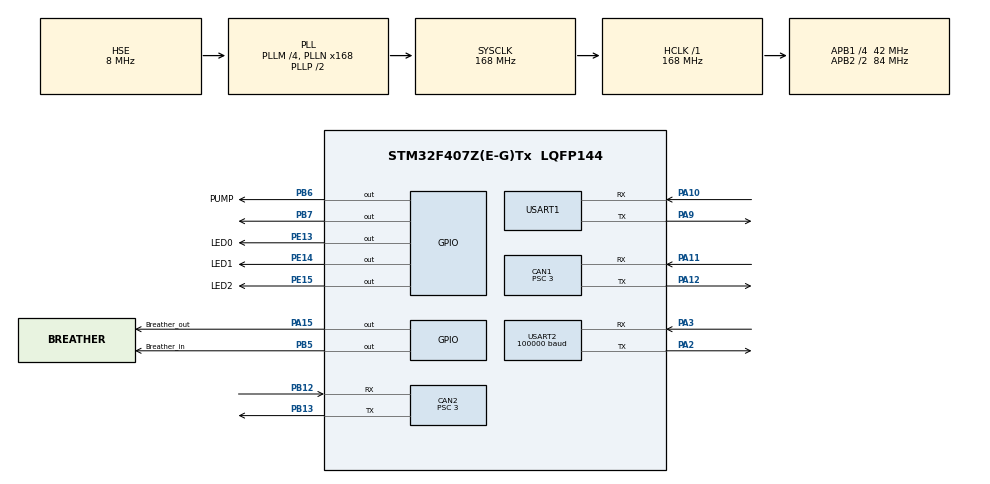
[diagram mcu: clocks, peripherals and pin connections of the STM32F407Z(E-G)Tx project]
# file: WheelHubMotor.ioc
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CAN1.ABOM=ENABLE
CAN1.AWUM=DISABLE
CAN1.BS1=CAN_BS1_9TQ
CAN1.BS2=CAN_BS2_4TQ
CAN1.CalculateTimeQuantum=71.42857142857143
CAN1.Prescaler=3
CAN2.ABOM=ENABLE
CAN2.BS1=CAN_BS1_9TQ
CAN2.BS2=CAN_BS2_4TQ
CAN2.CalculateTimeQuantum=71.42857142857143
CAN2.Prescaler=3
Dma.Request0=USART2_RX
Dma.USART2_RX.0.Direction=DMA_PERIPH_TO_MEMORY
Dma.USART2_RX.0.FIFOMode=DMA_FIFOMODE_DISABLE
Dma.USART2_RX.0.Instance=DMA1_Stream5
Dma.USART2_RX.0.MemDataAlignment=DMA_MDATAALIGN_BYTE
Dma.USART2_RX.0.MemInc=DMA_MINC_ENABLE
Dma.USART2_RX.0.Mode=DMA_NORMAL
Dma.USART2_RX.0.PeriphDataAlignment=DMA_PDATAALIGN_BYTE
Dma.USART2_RX.0.PeriphInc=DMA_PINC_DISABLE
Dma.USART2_RX.0.Priority=DMA_PRIORITY_LOW
Mcu.Family=STM32F4
Mcu.Name=STM32F407Z(E-G)Tx
Mcu.Package=LQFP144
NVIC.CAN1_RX0_IRQn=true\:0\:0\:false\:false\:true\:true\:true
NVIC.CAN1_TX_IRQn=true\:0\:0\:false\:false\:true\:true\:true
NVIC.CAN2_RX0_IRQn=true\:0\:0\:false\:false\:true\:true\:true
NVIC.CAN2_TX_IRQn=true\:0\:0\:false\:false\:true\:true\:true
NVIC.DMA1_Stream5_IRQn=true\:0\:0\:false\:false\:true\:false\:true
NVIC.PriorityGroup=NVIC_PRIORITYGROUP_4
NVIC.TIM3_IRQn=true\:1\:0\:true\:false\:true\:true\:true
NVIC.TIM4_IRQn=true\:2\:0\:true\:false\:true\:true\:true
NVIC.TIM7_IRQn=true\:0\:0\:false\:false\:true\:true\:true
NVIC.USART1_IRQn=true\:0\:0\:false\:false\:true\:true\:true
NVIC.USART2_IRQn=true\:0\:0\:false\:false\:true\:true\:true
PA10.Mode=Asynchronous
PA10.Signal=USART1_RX
PA11.Mode=Master
PA11.Signal=CAN1_RX
PA12.Mode=Master
PA12.Signal=CAN1_TX
PA13.Mode=Serial_Wire
PA13.Signal=SYS_JTMS-SWDIO
PA14.Mode=Serial_Wire
PA14.Signal=SYS_JTCK-SWCLK
PA15.GPIO_Label=Breather_out
PA15.GPIO_Speed=GPIO_SPEED_FREQ_HIGH
PA15.Signal=GPIO_Output
PA2.Mode=Asynchronous
PA2.Signal=USART2_TX
PA3.Mode=Asynchronous
PA3.Signal=USART2_RX
PA9.Mode=Asynchronous
PA9.Signal=USART1_TX
PB12.Mode=Slave
PB12.Signal=CAN2_RX
PB13.Mode=Slave
PB13.Signal=CAN2_TX
PB5.GPIO_Label=Breather_in
PB5.GPIO_Speed=GPIO_SPEED_FREQ_HIGH
PB5.Signal=GPIO_Output
PB6.GPIO_Label=PUMP
PB6.GPIO_Speed=GPIO_SPEED_FREQ_HIGH
PB6.Signal=GPIO_Output
PB7.Signal=GPIO_Output
PE13.GPIO_Label=LED0
PE13.GPIO_ModeDefaultOutputPP=GPIO_MODE_OUTPUT_PP
PE13.GPIO_PuPd=GPIO_PULLUP
PE13.GPIO_Speed=GPIO_SPEED_FREQ_LOW
PE13.PinState=GPIO_PIN_SET
PE13.Signal=GPIO_Output
PE14.GPIO_Label=LED1
PE14.GPIO_ModeDefaultOutputPP=GPIO_MODE_OUTPUT_PP
PE14.GPIO_PuPd=GPIO_PULLUP
PE14.GPIO_Speed=GPIO_SPEED_FREQ_LOW
PE14.PinState=GPIO_PIN_SET
PE14.Signal=GPIO_Output
PE15.GPIO_Label=LED2
PE15.GPIO_ModeDefaultOutputPP=GPIO_MODE_OUTPUT_PP
PE15.GPIO_PuPd=GPIO_PULLUP
PE15.GPIO_Speed=GPIO_SPEED_FREQ_LOW
PE15.PinState=GPIO_PIN_SET
PE15.Signal=GPIO_Output
PH0-OSC_IN.Mode=HSE-External-Oscillator
PH0-OSC_IN.Signal=RCC_OSC_IN
PH1-OSC_OUT.Mode=HSE-External-Oscillator
PH1-OSC_OUT.Signal=RCC_OSC_OUT
ProjectManager.HeapSize=0x200
ProjectManager.StackSize=0x400
ProjectManager.TargetToolchain=MDK-ARM V5
RCC.48MHZClocksFreq_Value=84000000
RCC.AHBFreq_Value=168000000
RCC.APB1CLKDivider=RCC_HCLK_DIV4
RCC.APB1Freq_Value=42000000
RCC.APB1TimFreq_Value=84000000
RCC.APB2CLKDivider=RCC_HCLK_DIV2
RCC.APB2Freq_Value=84000000
RCC.APB2TimFreq_Value=168000000
RCC.CortexFreq_Value=168000000
RCC.HCLKFreq_Value=168000000
RCC.HSE_VALUE=8000000
RCC.HSI_VALUE=16000000
RCC.LSE_VALUE=32768
RCC.PLLM=4
RCC.PLLN=168
RCC.PLLSourceVirtual=RCC_PLLSOURCE_HSE
RCC.SYSCLKFreq_VALUE=168000000
RCC.SYSCLKSource=RCC_SYSCLKSOURCE_PLLCLK
RCC.VCOOutputFreq_Value=336000000
TIM3.Period=1000-1
TIM3.Prescaler=84-1
TIM4.Period=2000-1
TIM4.Prescaler=84-1
TIM7.Period=1000
TIM7.Prescaler=8400
USART1.VirtualMode=VM_ASYNC
USART2.BaudRate=100000
USART2.Parity=PARITY_EVEN
USART2.VirtualMode=VM_ASYNC
VP_TIM3_VS_ClockSourceINT.Mode=Internal
VP_TIM4_VS_ClockSourceINT.Mode=Internal
VP_TIM7_VS_ClockSourceINT.Mode=Enable_Timer
board=custom

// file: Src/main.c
/* USER CODE BEGIN Header */
/**
  ******************************************************************************
  * @file           : main.c
  * @brief          : Main program body
  ******************************************************************************
  * @attention
  *
  * <h2><center>&copy; Copyright (c) 2019 STMicroelectronics.
  * All rights reserved.</center></h2>
  *
  * This software component is licensed by ST under BSD 3-Clause license,
  * the "License"; You may not use this file except in compliance with the
  * License. You may obtain a copy of the License at:
  *                        opensource.org/licenses/BSD-3-Clause
  *
  ******************************************************************************
  */
/* USER CODE END Header */

#include "main.h"
#include "can.h"
#include "dma.h"
#include "tim.h"
#include "usart.h"
#include "gpio.h"

/* USER CODE BEGIN Includes */

#include "Remote_Control.h"
#include "bsp_can.h"
#include "Chassis_Control.h"
#include "stdio.h"
#include "printf_info.h"
#include "Lift_Control.h"
#include "APPInteraction.h"
#include "Control_Task.h"
#include "RobotArm_Control.h"

/* USER CODE END Includes */

/* USER CODE BEGIN PV */
int a=0;
/* USER CODE END PV */

void SystemClock_Config(void);

int main(void)
{

  /* MCU Configuration--------------------------------------------------------*/

  /* Reset of all peripherals, Initializes the Flash interface and the Systick. */
  HAL_Init();

  /* Configure the system clock */
  SystemClock_Config();

  /* Initialize all configured peripherals */
  MX_GPIO_Init();
  MX_DMA_Init();
  MX_TIM3_Init();
  MX_TIM4_Init();
  MX_USART1_UART_Init();
  MX_USART2_UART_Init();
  MX_CAN1_Init();
  MX_CAN2_Init();
  MX_TIM7_Init();
  /* USER CODE BEGIN 2 */
	HAL_UART_Receive_IT_IDLE(&huart2,UART_Buffer,100);   //启动串口接收
	HAL_TIM_Base_Start_IT(&htim3);  //使能TIM3中断，溢出时间为1ms
	HAL_TIM_Base_Start_IT(&htim4);  //开启定时器4中断，溢出时间为2ms，现在没有用到
	can_filter_init();  //CAN过滤器初始化及启动
    MotorSpeedModeInit(10,10);  //电机速度模式初始化
//    MotorPositionModeInit(10,10,100,0x5F);  /*电机位置模式初始化，现在用遥控器控制不需要用位置模式*/
    MotorPIDInit();  //电机PID参数初始化
    APPInteractionInit();

  /* USER CODE END 2 */

  /* Infinite loop */
  while (1)
  {

    /* USER CODE BEGIN 3 */

      AllControlTask();

  }
  /* USER CODE END 3 */
}

void SystemClock_Config(void)
{
  RCC_OscInitTypeDef RCC_OscInitStruct = {0};
  RCC_ClkInitTypeDef RCC_ClkInitStruct = {0};

  /** Configure the main internal regulator output voltage
  */
  __HAL_RCC_PWR_CLK_ENABLE();
  __HAL_PWR_VOLTAGESCALING_CONFIG(PWR_REGULATOR_VOLTAGE_SCALE1);
  /** Initializes the CPU, AHB and APB busses clocks
  */
  RCC_OscInitStruct.OscillatorType = RCC_OSCILLATORTYPE_HSE;
  RCC_OscInitStruct.HSEState = RCC_HSE_ON;
  RCC_OscInitStruct.PLL.PLLState = RCC_PLL_ON;
  RCC_OscInitStruct.PLL.PLLSource = RCC_PLLSOURCE_HSE;
  RCC_OscInitStruct.PLL.PLLM = 4;
  RCC_OscInitStruct.PLL.PLLN = 168;
  RCC_OscInitStruct.PLL.PLLP = RCC_PLLP_DIV2;
  RCC_OscInitStruct.PLL.PLLQ = 4;
  if (HAL_RCC_OscConfig(&RCC_OscInitStruct) != HAL_OK)
  {
    Error_Handler();
  }
  /** Initializes the CPU, AHB and APB busses clocks
  */
  RCC_ClkInitStruct.ClockType = RCC_CLOCKTYPE_HCLK|RCC_CLOCKTYPE_SYSCLK
                              |RCC_CLOCKTYPE_PCLK1|RCC_CLOCKTYPE_PCLK2;
  RCC_ClkInitStruct.SYSCLKSource = RCC_SYSCLKSOURCE_PLLCLK;
  RCC_ClkInitStruct.AHBCLKDivider = RCC_SYSCLK_DIV1;
  RCC_ClkInitStruct.APB1CLKDivider = RCC_HCLK_DIV4;
  RCC_ClkInitStruct.APB2CLKDivider = RCC_HCLK_DIV2;

  if (HAL_RCC_ClockConfig(&RCC_ClkInitStruct, FLASH_LATENCY_5) != HAL_OK)
  {
    Error_Handler();
  }
}

/* USER CODE BEGIN 4 */
void HAL_TIM_PeriodElapsedCallback(TIM_HandleTypeDef *htim)
{
    static uint16_t ms1 = 0, ms2 = 0,ms7=0;
	if (htim->Instance == TIM3)
	{
        ms1++;
        ms2++;
		    ms7++;
		if(ms1 >= 1)
		{
            ms1 = 0;
            BaseMove_Ctrl = 1;
            RobotArm_Ctrl = 1;
			      RobotBase_Ctrl =1;
//            Chassis_Ctrl = 1;
		}
    if(ms2 >= 2)
     {
			ms2 = 0;
			Chassis_Ctrl = 1;
     }
//		 if(ms7 >= 5)
//		 {
//			 ms7=0;
////			 RobotBase_Ctrl =1;
//		 }

	}
    if(htim->Instance == TIM4)
    {

    }

}
/* USER CODE END 4 */

void Error_Handler(void)
{
}

/************************ (C) COPYRIGHT STMicroelectronics *****END OF FILE****/
